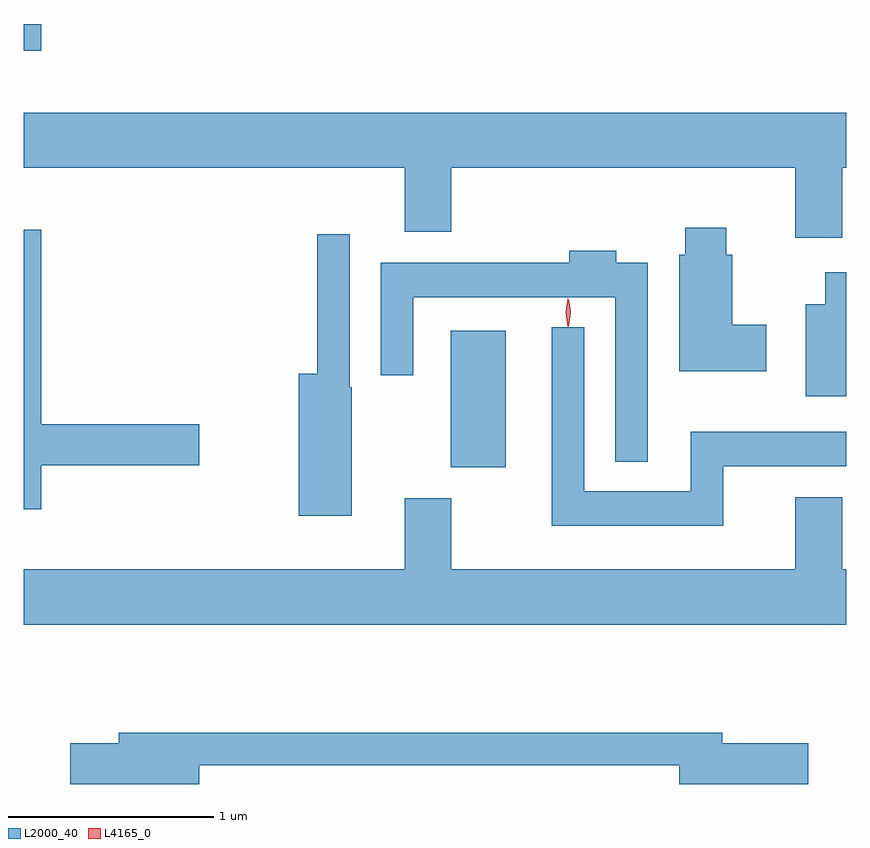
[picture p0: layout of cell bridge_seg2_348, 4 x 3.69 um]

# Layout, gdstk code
import gdstk
lib = gdstk.Library(unit=1e-6, precision=1e-09)
def R(c, l, rs):  # rectangles x0, y0, x1, y1
    for r in rs: c.add(gdstk.rectangle(r[:2], r[2:], *l))
def P(c, l, *ps):  # polygons
    for p in ps: c.add(gdstk.Polygon(p, *l))
L2000_40 = (2000, 40)
L4165_0 = (4165, 0)

bridge_seg2_348 = lib.new_cell('bridge_seg2_348')
R(bridge_seg2_348, L2000_40, [(449.846,1040.201,450.114,1040.864), (447.769,1042.226,447.854,1042.355)])
P(bridge_seg2_348, L2000_40, [(451.749,1041.656),(451.769,1041.656),(451.769,1041.924),(447.769,1041.924),(447.769,1041.656),(449.621,1041.656),(449.621,1041.346),(449.849,1041.346),(449.849,1041.656),(451.521,1041.656),(451.521,1041.316),(451.749,1041.316)],
  [(451.379,1040.894),(451.214,1040.894),(451.214,1041.234),(451.184,1041.234),(451.184,1041.364),(450.986,1041.364),(450.986,1041.234),(450.956,1041.234),(450.956,1040.666),(451.379,1040.666)],
  [(447.854,1040.211),(448.624,1040.211),(448.624,1040.409),(447.854,1040.409),(447.854,1041.354),(447.769,1041.354),(447.769,1039.996),(447.854,1039.996)],
  [(449.364,1040.59),(449.354,1040.59),(449.354,1041.333),(449.196,1041.333),(449.196,1040.654),(449.106,1040.654),(449.106,1039.966),(449.364,1039.966)],
  [(450.804,1041.194),(450.649,1041.194),(450.649,1041.254),(450.421,1041.254),(450.421,1041.194),(449.506,1041.194),(449.506,1040.648),(449.664,1040.648),(449.664,1041.026),(450.646,1041.026),(450.646,1040.228),(450.804,1040.228)],
  [(451.769,1041.149),(451.666,1041.149),(451.666,1040.994),(451.571,1040.994),(451.571,1040.546),(451.769,1040.546)],
  [(451.169,1040.206),(451.769,1040.206),(451.769,1040.374),(451.011,1040.374),(451.011,1040.084),(450.494,1040.084),(450.494,1040.882),(450.336,1040.882),(450.336,1039.916),(451.169,1039.916)],
  [(451.769,1039.704),(451.749,1039.704),(451.749,1040.054),(451.521,1040.054),(451.521,1039.704),(449.849,1039.704),(449.849,1040.049),(449.621,1040.049),(449.621,1039.704),(447.769,1039.704),(447.769,1039.436),(451.769,1039.436)],
  [(448.624,1038.751),(450.956,1038.751),(450.956,1038.661),(451.584,1038.661),(451.584,1038.859),(451.164,1038.859),(451.164,1038.909),(448.231,1038.909),(448.231,1038.859),(447.996,1038.859),(447.996,1038.661),(448.624,1038.661)])
P(bridge_seg2_348, L4165_0, [(450.414,1040.884),(450.414,1040.884),(450.404,1040.954),(450.414,1041.022),(450.414,1041.023),(450.415,1041.022),(450.424,1040.954),(450.415,1040.884)],
  [(450.417,1040.887),(450.408,1040.954),(450.418,1041.02),(450.418,1041.02),(450.419,1041.02),(450.428,1040.954),(450.418,1040.887),(450.418,1040.887)])

lib.write_gds('bridge_seg2_348.gds')
